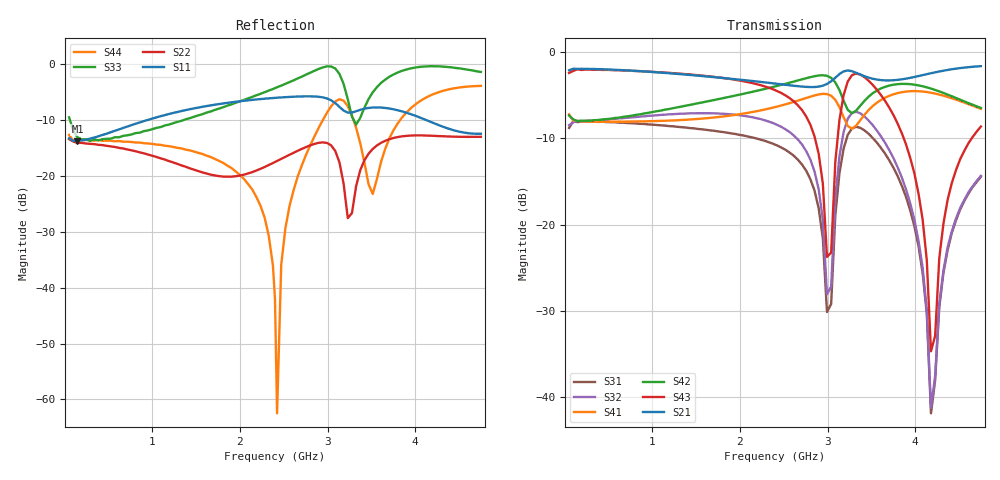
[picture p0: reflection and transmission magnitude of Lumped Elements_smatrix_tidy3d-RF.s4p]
! Created with skrf (http://scikit-rf.org).
# Hz S RI R 50.0
!freq ReS11 ImS11 ReS12 ImS12 ReS13 ImS13
! ReS14 ImS14
! ReS21 ImS21 ReS22 ImS22 ReS23 ImS23
! ReS24 ImS24
! ReS31 ImS31 ReS32 ImS32 ReS33 ImS33
! ReS34 ImS34
! ReS41 ImS41 ReS42 ImS42 ReS43 ImS43
! ReS44 ImS44
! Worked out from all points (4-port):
!   101 points, 50 MHz to 4.75 GHz, reference 50 ohm
!   strongest paths, dB at 50 MHz, 1.237 GHz, 2.4 GHz, 3.563 GHz, 4.75 GHz:
!     S21: -2.1, -2.5, -3.6, -3.2, -1.6
!     S43: -2.4, -2.4, -4.4, -4.4, -8.6
!     S42: -7.4, -6.5, -4.0, -4.5, -6.5
!     S41: -7.2, -7.9, -6.4, -5.9, -6.6
!     S32: -8.5, -7.2, -8.3, -9.1, -14.3
!     S31: -8.8, -8.6, -10.7, -10.5, -14.4
!   lowest |S11| = -13.7 dB at 144.9 MHz (marker M1), VSWR 1.52, Z = 72.3 + j11.9 ohm
!   |S11| at or under -10 dB: start of sweep to 934.7 MHz; 4.132 GHz to end of sweep
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5e7  0.2088 0.0652  -0.7848 0.00954  -0.3506 0.0949  0.4252 0.093
     -0.7861 0.00978  0.2086 0.048  -0.3574 0.1204  0.4212 0.0831
     -0.3513 0.095  -0.3578 0.1201  -0.0601 0.3304  -0.7188 0.237
     0.426 0.0932  0.4208 0.083  -0.7199 0.2367  -0.1592 0.171
1.449495e8  0.1898 0.079  -0.7949 -0.0693  -0.3919 -0.0117  0.3931 0.0707
            -0.7968 -0.0693  0.1958 0.0294  -0.3972 0.0359  0.3973 0.0195
            -0.3928 -0.0116  -0.3971 0.0358  -0.1915 0.1142  -0.7946 0.0472
            0.394 0.0708  0.3973 0.0194  -0.7944 0.047  -0.2096 0.0545
2.138889e9  -0.4668 0.1178  -0.0865 -0.6735  0.1831 -0.2622  0.0492 0.4458
            -0.0868 -0.675  0.1084 0.00135  -0.3125 -0.2808  0.5885 0.00786
            0.1831 -0.2628  -0.3125 -0.2802  -0.0102 -0.511  -0.4535 -0.4824
            0.0494 0.4467  0.5884 0.00785  -0.4532 -0.4832  -0.0687 -0.033
2.423737e9  -0.5034 -0.0142  0.0172 -0.6538  0.2376 -0.162  -0.0515 0.4796
            0.0171 -0.6554  0.1364 -0.00807  -0.2197 -0.3094  0.6349 0.0556
            0.2376 -0.1625  -0.2197 -0.3087  0.1697 -0.6018  -0.3176 -0.5022
            -0.0515 0.4806  0.6348 0.0555  -0.3173 -0.5032  -0.00044 0.000606
2.518687e9  -0.5054 -0.064  0.0465 -0.6438  0.2435 -0.1205  -0.0926 0.4883
            0.0464 -0.6454  0.1486 -0.00629  -0.1801 -0.3092  0.6508 0.0785
            0.2435 -0.121  -0.1802 -0.3084  0.2559 -0.6199  -0.2612 -0.4963
            -0.0926 0.4894  0.6507 0.0784  -0.261 -0.4974  0.026 0.0221
2.993434e9  -0.3641 -0.3368  0.1238 -0.6406  0.0256 0.0189  -0.4057 0.4006
            0.1239 -0.6422  0.1717 0.0988  0.0131 -0.0382  0.6474 0.3359
            0.0251 0.0184  0.0127 -0.0373  0.9556 -0.1105  0.0204 -0.06
            -0.4064 0.4016  0.6473 0.3358  0.021 -0.0614  0.0575 0.3655
4.75e9  0.1942 0.1399  0.8148 -0.144  0.1675 -0.0855  -0.3153 -0.3457
        0.8167 -0.1447  0.1737 0.1429  -0.1695 0.0876  0.3208 0.3503
        0.1685 -0.0866  -0.1702 0.0885  0.6495 0.5593  -0.3496 0.1284
        -0.3162 -0.3464  0.3207 0.3502  -0.3481 0.1268  -0.4292 0.479
